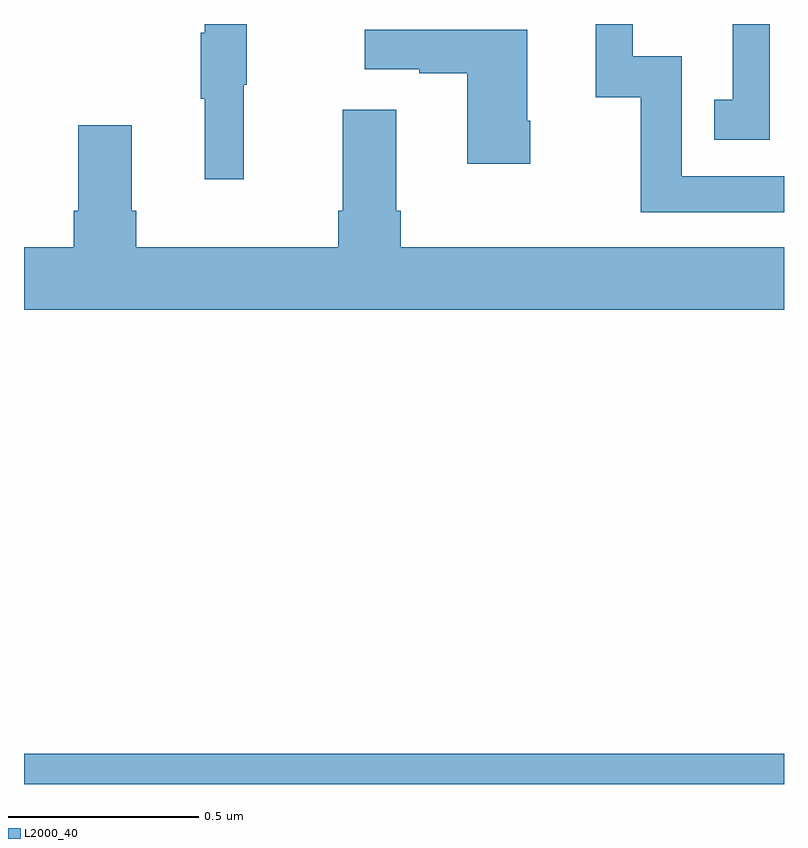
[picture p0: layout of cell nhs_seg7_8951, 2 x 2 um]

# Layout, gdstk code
import gdstk
lib = gdstk.Library(unit=1e-6, precision=1e-09)
def R(c, l, rs):  # rectangles x0, y0, x1, y1
    for r in rs: c.add(gdstk.rectangle(r[:2], r[2:], *l))
def P(c, l, *ps):  # polygons
    for p in ps: c.add(gdstk.Polygon(p, *l))
L2000_40 = (2000, 40)

nhs_seg7_8951 = lib.new_cell('nhs_seg7_8951')
R(nhs_seg7_8951, L2000_40, [(231,1034,233,1034.08)])
P(nhs_seg7_8951, L2000_40, [(232.962,1036),(232.865,1036),(232.865,1035.801),(232.816,1035.801),(232.816,1035.696),(232.962,1035.696)],
  [(231.578,1035.84),(231.586,1035.84),(231.586,1036),(231.476,1036),(231.476,1035.977),(231.465,1035.977),(231.465,1035.803),(231.476,1035.803),(231.476,1035.591),(231.578,1035.591)],
  [(233,1035.6),(232.731,1035.6),(232.731,1035.915),(232.602,1035.915),(232.602,1036),(232.505,1036),(232.505,1035.807),(232.623,1035.807),(232.623,1035.504),(233,1035.504)],
  [(232.332,1035.745),(232.324,1035.745),(232.324,1035.985),(231.897,1035.985),(231.897,1035.881),(232.04,1035.881),(232.04,1035.871),(232.166,1035.871),(232.166,1035.632),(232.332,1035.632)],
  [(233,1035.412),(231.992,1035.412),(231.992,1035.508),(231.979,1035.508),(231.979,1035.775),(231.839,1035.775),(231.839,1035.508),(231.827,1035.508),(231.827,1035.412),(231.296,1035.412),(231.296,1035.508),(231.283,1035.508),(231.283,1035.733),(231.143,1035.733),(231.143,1035.508),(231.131,1035.508),(231.131,1035.412),(231,1035.412),(231,1035.248),(233,1035.248)])

lib.write_gds('nhs_seg7_8951.gds')
